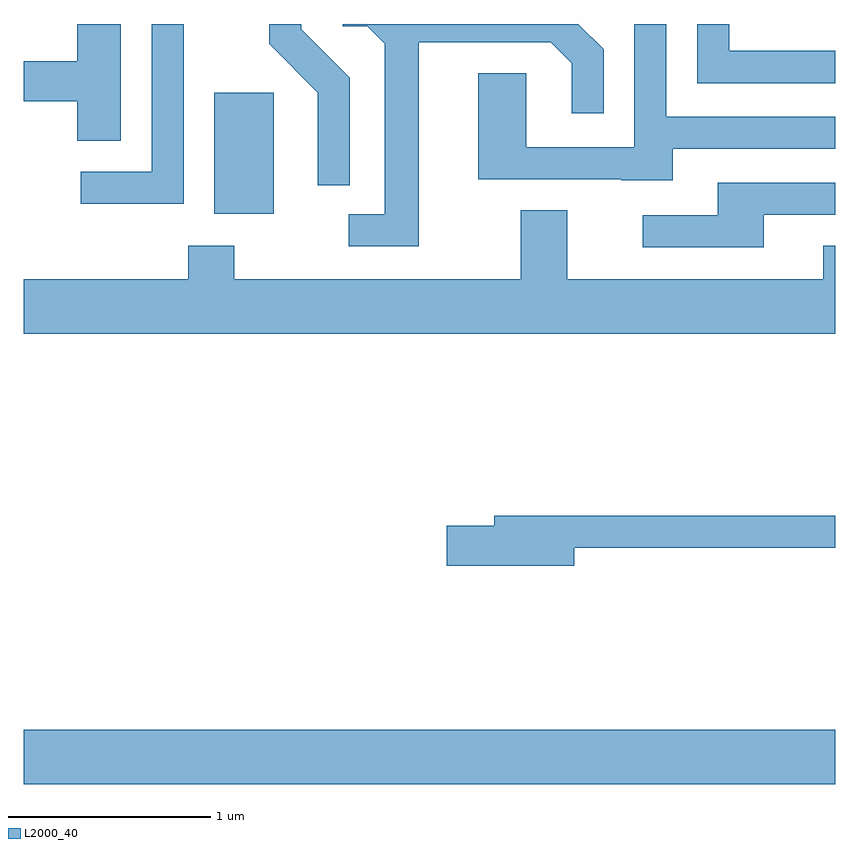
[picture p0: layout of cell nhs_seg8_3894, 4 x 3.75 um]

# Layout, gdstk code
import gdstk
lib = gdstk.Library(unit=1e-6, precision=1e-09)
def R(c, l, rs):  # rectangles x0, y0, x1, y1
    for r in rs: c.add(gdstk.rectangle(r[:2], r[2:], *l))
def P(c, l, *ps):  # polygons
    for p in ps: c.add(gdstk.Polygon(p, *l))
L2000_40 = (2000, 40)

nhs_seg8_3894 = lib.new_cell('nhs_seg8_3894')
R(nhs_seg8_3894, L2000_40, [(301.611,1878.596,305.611,1878.864), (302.551,1881.406,302.844,1882.004)])
P(nhs_seg8_3894, L2000_40, [(302.089,1882.342),(301.876,1882.342),(301.876,1882.159),(301.611,1882.159),(301.611,1881.961),(301.876,1881.961),(301.876,1881.766),(302.089,1881.766)],
  [(304.809,1881.726),(305.611,1881.726),(305.611,1881.884),(304.779,1881.884),(304.779,1882.342),(304.621,1882.342),(304.621,1881.734),(304.089,1881.734),(304.089,1882.099),(303.851,1882.099),(303.851,1881.576),(304.555,1881.576),(304.555,1881.571),(304.809,1881.571)],
  [(302.399,1882.342),(302.241,1882.342),(302.241,1881.614),(301.893,1881.614),(301.893,1881.456),(302.399,1881.456)],
  [(303.219,1882.077),(302.979,1882.317),(302.979,1882.342),(302.821,1882.342),(302.821,1882.244),(303.061,1882.004),(303.061,1881.548),(303.219,1881.548)],
  [(305.611,1882.209),(305.089,1882.209),(305.089,1882.342),(304.931,1882.342),(304.931,1882.051),(305.611,1882.051)],
  [(303.559,1882.251),(304.209,1882.251),(304.311,1882.149),(304.311,1881.903),(304.469,1881.903),(304.469,1882.217),(304.344,1882.342),(303.183,1882.342),(303.183,1882.331),(303.304,1882.331),(303.391,1882.244),(303.391,1881.404),(303.213,1881.404),(303.213,1881.246),(303.559,1881.246)],
  [(305.259,1881.401),(305.611,1881.401),(305.611,1881.559),(305.031,1881.559),(305.031,1881.399),(304.663,1881.399),(304.663,1881.241),(305.259,1881.241)],
  [(305.611,1881.249),(305.551,1881.249),(305.551,1881.084),(304.289,1881.084),(304.289,1881.424),(304.061,1881.424),(304.061,1881.084),(302.649,1881.084),(302.649,1881.249),(302.421,1881.249),(302.421,1881.084),(301.611,1881.084),(301.611,1880.816),(305.611,1880.816)],
  [(304.324,1879.761),(305.611,1879.761),(305.611,1879.919),(303.931,1879.919),(303.931,1879.869),(303.696,1879.869),(303.696,1879.671),(304.324,1879.671)])

lib.write_gds('nhs_seg8_3894.gds')
